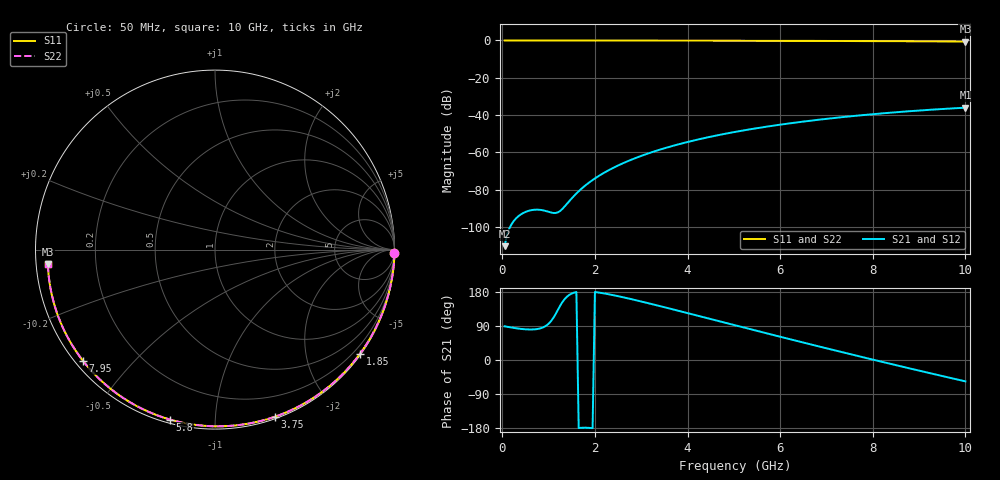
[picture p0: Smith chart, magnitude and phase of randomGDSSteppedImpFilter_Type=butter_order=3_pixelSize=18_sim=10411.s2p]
! freq	dB(S11)	phase(S11)	dB(S12)	phase(S12)
!  dB(S21)	phase(S21)	dB(S22)	phase(S22)
!S-par simulation data
#  GHz  S  DB  R 50
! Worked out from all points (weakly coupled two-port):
!   200 points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, 50 MHz to 10 GHz, reference 50 ohm
!   highest |S21| = -36.08 dB at 10 GHz (marker M1); lowest = -110.4 dB at 50 MHz (marker M2)
!   lowest |S11| = -0.6 dB at 10 GHz (marker M3), VSWR 29.55, Z = 1.69 - j2.14 ohm
!   |S11| at or under -10 dB: nowhere
!   |S22| runs from -0.6 to 0.0 dB; largest |S21 - S12| = 0
!   S11 on the Smith chart (normalised r, x): 50 MHz: open; 1.85 GHz: 0.03, -3.11; 3.75 GHz: 0.02, -1.42; 5.8 GHz: 0.02, -0.77; 7.95 GHz: 0.02, -0.37; 10 GHz: 0.03, -0.04
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0.05  -0.00 -1.0  -110.40 88.9  -110.40 88.9  -0.00 -1.0
0.45  -0.01 -8.8  -92.63 81.5  -92.63 81.5  -0.01 -8.8
0.85  -0.02 -16.6  -91.02 84.6  -91.02 84.6  -0.02 -16.6
1.65  -0.04 -31.8  -80.92 -179.5  -80.92 -179.5  -0.04 -31.8
1.7  -0.04 -32.8  -79.78 -178.9  -79.78 -178.9  -0.04 -32.8
1.75  -0.04 -33.7  -78.70 -178.6  -78.70 -178.6  -0.04 -33.7
1.85  -0.05 -35.6  -76.71 -178.9  -76.71 -178.9  -0.05 -35.6
2  -0.05 -38.4  -74.04 179.4  -74.04 179.4  -0.05 -38.4
2.15  -0.05 -41.2  -71.70 176.7  -71.70 176.7  -0.05 -41.2
2.5  -0.06 -47.7  -67.10 168.5  -67.10 168.5  -0.06 -47.7
2.9  -0.07 -55.0  -62.88 157.3  -62.88 157.3  -0.07 -55.0
3.4  -0.08 -64.0  -58.61 142.4  -58.61 142.4  -0.08 -64.0
3.75  -0.10 -70.2  -56.10 131.6  -56.10 131.6  -0.10 -70.2
4.4  -0.12 -81.5  -52.18 111.3  -52.18 111.3  -0.12 -81.5
5.05  -0.14 -92.5  -48.97 90.9  -48.97 90.9  -0.14 -92.5
5.8  -0.18 -104.9  -45.91 67.5  -45.91 67.5  -0.18 -104.9
6.7  -0.24 -119.5  -42.92 39.9  -42.92 39.9  -0.24 -119.5
7.3  -0.28 -129.2  -41.25 21.8  -41.25 21.8  -0.28 -129.3
7.95  -0.34 -139.8  -39.68 2.5  -39.68 2.5  -0.34 -139.8
8.35  -0.38 -146.4  -38.83 -9.2  -38.83 -9.2  -0.38 -146.4
9.2  -0.48 -160.8  -37.26 -33.8  -37.26 -33.8  -0.48 -160.8
10  -0.59 -175.1  -36.08 -56.4  -36.08 -56.4  -0.59 -175.1
